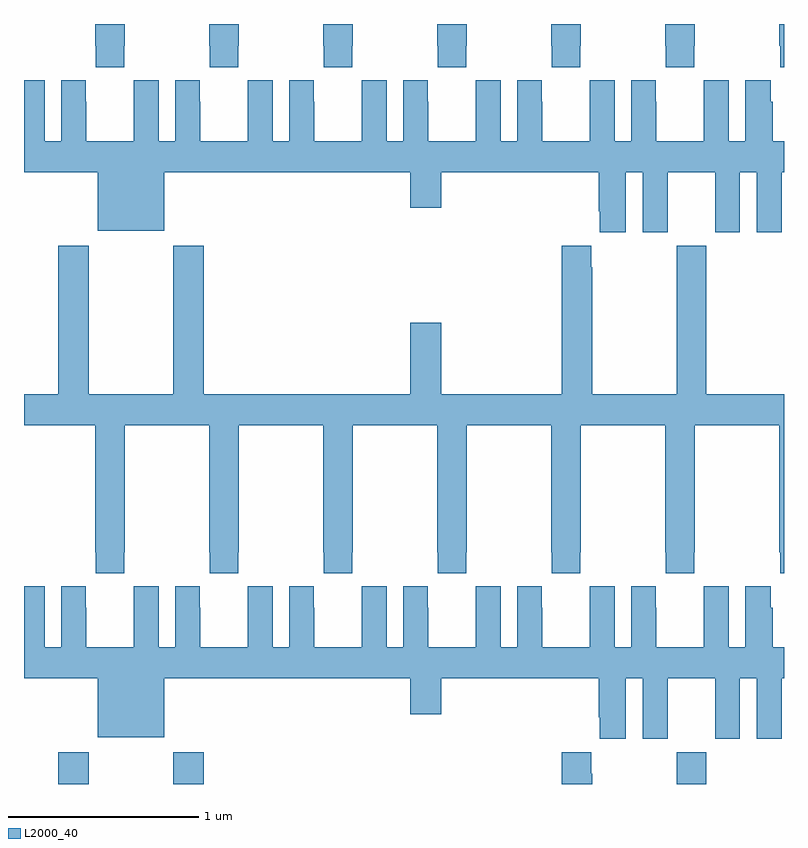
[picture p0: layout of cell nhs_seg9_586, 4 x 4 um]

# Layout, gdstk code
import gdstk
lib = gdstk.Library(unit=1e-6, precision=1e-09)
def R(c, l, rs):  # rectangles x0, y0, x1, y1
    for r in rs: c.add(gdstk.rectangle(r[:2], r[2:], *l))
def P(c, l, *ps):  # polygons
    for p in ps: c.add(gdstk.Polygon(p, *l))
L2000_40 = (2000, 40)

nhs_seg9_586 = lib.new_cell('nhs_seg9_586')
R(nhs_seg9_586, L2000_40, [(139.181,1226.5,139.341,1226.668), (139.786,1226.5,139.946,1226.668), (142.435,1226.5,142.59,1226.668)])
P(nhs_seg9_586, L2000_40, [(143,1230.5),(142.975,1230.5),(142.975,1230.385),(142.981,1230.385),(142.981,1230.273),(143,1230.273)],
  [(142.527,1230.385),(142.53,1230.385),(142.53,1230.5),(142.375,1230.5),(142.375,1230.385),(142.377,1230.385),(142.377,1230.273),(142.527,1230.273)],
  [(141.927,1230.385),(141.93,1230.385),(141.93,1230.5),(141.775,1230.5),(141.775,1230.385),(141.777,1230.385),(141.777,1230.273),(141.927,1230.273)],
  [(141.327,1230.385),(141.33,1230.385),(141.33,1230.5),(141.175,1230.5),(141.175,1230.385),(141.177,1230.385),(141.177,1230.273),(141.327,1230.273)],
  [(140.727,1230.385),(140.73,1230.385),(140.73,1230.5),(140.575,1230.5),(140.575,1230.385),(140.577,1230.385),(140.577,1230.273),(140.727,1230.273)],
  [(140.127,1230.385),(140.13,1230.385),(140.13,1230.5),(139.975,1230.5),(139.975,1230.385),(139.977,1230.385),(139.977,1230.273),(140.127,1230.273)],
  [(139.527,1230.385),(139.53,1230.385),(139.53,1230.5),(139.375,1230.5),(139.375,1230.385),(139.377,1230.385),(139.377,1230.273),(139.527,1230.273)],
  [(139.326,1230.092),(139.326,1230.205),(139.196,1230.205),(139.196,1229.884),(139.108,1229.884),(139.108,1230.205),(139,1230.205),(139,1229.72),(139.388,1229.72),(139.388,1229.411),(139.738,1229.411),(139.738,1229.72),(141.032,1229.72),(141.032,1229.532),(141.196,1229.532),(141.196,1229.72),(142.025,1229.72),(142.025,1229.515),(142.031,1229.515),(142.031,1229.403),(142.168,1229.403),(142.168,1229.72),(142.256,1229.72),(142.256,1229.403),(142.387,1229.403),(142.387,1229.72),(142.637,1229.72),(142.637,1229.403),(142.768,1229.403),(142.768,1229.72),(142.856,1229.72),(142.856,1229.403),(142.987,1229.403),(142.987,1229.72),(143,1229.72),(143,1229.884),(142.94,1229.884),(142.94,1230.092),(142.93,1230.092),(142.93,1230.205),(142.796,1230.205),(142.796,1229.884),(142.708,1229.884),(142.708,1230.205),(142.578,1230.205),(142.578,1230.092),(142.577,1230.092),(142.577,1229.884),(142.327,1229.884),(142.327,1230.092),(142.326,1230.092),(142.326,1230.205),(142.196,1230.205),(142.196,1229.884),(142.108,1229.884),(142.108,1230.205),(141.978,1230.205),(141.978,1230.092),(141.977,1230.092),(141.977,1229.884),(141.727,1229.884),(141.727,1230.092),(141.726,1230.092),(141.726,1230.205),(141.596,1230.205),(141.596,1229.884),(141.508,1229.884),(141.508,1230.205),(141.378,1230.205),(141.378,1230.092),(141.377,1230.092),(141.377,1229.884),(141.127,1229.884),(141.127,1230.092),(141.126,1230.092),(141.126,1230.205),(140.996,1230.205),(140.996,1229.884),(140.908,1229.884),(140.908,1230.205),(140.778,1230.205),(140.778,1230.092),(140.777,1230.092),(140.777,1229.884),(140.527,1229.884),(140.527,1230.092),(140.526,1230.092),(140.526,1230.205),(140.396,1230.205),(140.396,1229.884),(140.308,1229.884),(140.308,1230.205),(140.178,1230.205),(140.178,1230.092),(140.177,1230.092),(140.177,1229.884),(139.927,1229.884),(139.927,1230.092),(139.926,1230.092),(139.926,1230.205),(139.796,1230.205),(139.796,1229.884),(139.708,1229.884),(139.708,1230.205),(139.578,1230.205),(139.578,1230.092),(139.577,1230.092),(139.577,1229.884),(139.327,1229.884),(139.327,1230.092)],
  [(139.527,1227.721),(139.53,1227.721),(139.53,1228.388),(139.975,1228.388),(139.975,1227.721),(139.977,1227.721),(139.977,1227.609),(140.127,1227.609),(140.127,1227.721),(140.13,1227.721),(140.13,1228.388),(140.575,1228.388),(140.575,1227.721),(140.577,1227.721),(140.577,1227.609),(140.727,1227.609),(140.727,1227.721),(140.73,1227.721),(140.73,1228.388),(141.175,1228.388),(141.175,1227.721),(141.177,1227.721),(141.177,1227.609),(141.327,1227.609),(141.327,1227.721),(141.33,1227.721),(141.33,1228.388),(141.775,1228.388),(141.775,1227.721),(141.777,1227.721),(141.777,1227.609),(141.927,1227.609),(141.927,1227.721),(141.93,1227.721),(141.93,1228.388),(142.375,1228.388),(142.375,1227.721),(142.377,1227.721),(142.377,1227.609),(142.527,1227.609),(142.527,1227.721),(142.53,1227.721),(142.53,1228.388),(142.975,1228.388),(142.975,1227.721),(142.981,1227.721),(142.981,1227.609),(143,1227.609),(143,1228.552),(142.59,1228.552),(142.59,1229.332),(142.435,1229.332),(142.435,1228.552),(141.99,1228.552),(141.99,1229.219),(141.985,1229.219),(141.985,1229.332),(141.83,1229.332),(141.83,1228.552),(141.196,1228.552),(141.196,1228.927),(141.032,1228.927),(141.032,1228.552),(139.946,1228.552),(139.946,1229.332),(139.786,1229.332),(139.786,1228.552),(139.341,1228.552),(139.341,1229.332),(139.181,1229.332),(139.181,1228.552),(139,1228.552),(139,1228.388),(139.375,1228.388),(139.375,1227.721),(139.377,1227.721),(139.377,1227.609),(139.527,1227.609)],
  [(139.578,1227.541),(139.578,1227.428),(139.577,1227.428),(139.577,1227.22),(139.327,1227.22),(139.327,1227.428),(139.326,1227.428),(139.326,1227.541),(139.196,1227.541),(139.196,1227.22),(139.108,1227.22),(139.108,1227.541),(139,1227.541),(139,1227.056),(139.388,1227.056),(139.388,1226.747),(139.738,1226.747),(139.738,1227.056),(141.032,1227.056),(141.032,1226.868),(141.196,1226.868),(141.196,1227.056),(142.025,1227.056),(142.025,1226.851),(142.031,1226.851),(142.031,1226.739),(142.168,1226.739),(142.168,1227.056),(142.256,1227.056),(142.256,1226.739),(142.387,1226.739),(142.387,1227.056),(142.637,1227.056),(142.637,1226.739),(142.768,1226.739),(142.768,1227.056),(142.856,1227.056),(142.856,1226.739),(142.987,1226.739),(142.987,1227.056),(143,1227.056),(143,1227.22),(142.94,1227.22),(142.94,1227.428),(142.93,1227.428),(142.93,1227.541),(142.796,1227.541),(142.796,1227.22),(142.708,1227.22),(142.708,1227.541),(142.578,1227.541),(142.578,1227.428),(142.577,1227.428),(142.577,1227.22),(142.327,1227.22),(142.327,1227.428),(142.326,1227.428),(142.326,1227.541),(142.196,1227.541),(142.196,1227.22),(142.108,1227.22),(142.108,1227.541),(141.978,1227.541),(141.978,1227.428),(141.977,1227.428),(141.977,1227.22),(141.727,1227.22),(141.727,1227.428),(141.726,1227.428),(141.726,1227.541),(141.596,1227.541),(141.596,1227.22),(141.508,1227.22),(141.508,1227.541),(141.378,1227.541),(141.378,1227.428),(141.377,1227.428),(141.377,1227.22),(141.127,1227.22),(141.127,1227.428),(141.126,1227.428),(141.126,1227.541),(140.996,1227.541),(140.996,1227.22),(140.908,1227.22),(140.908,1227.541),(140.778,1227.541),(140.778,1227.428),(140.777,1227.428),(140.777,1227.22),(140.527,1227.22),(140.527,1227.428),(140.526,1227.428),(140.526,1227.541),(140.396,1227.541),(140.396,1227.22),(140.308,1227.22),(140.308,1227.541),(140.178,1227.541),(140.178,1227.428),(140.177,1227.428),(140.177,1227.22),(139.927,1227.22),(139.927,1227.428),(139.926,1227.428),(139.926,1227.541),(139.796,1227.541),(139.796,1227.22),(139.708,1227.22),(139.708,1227.541)],
  [(141.99,1226.555),(141.985,1226.555),(141.985,1226.668),(141.83,1226.668),(141.83,1226.5),(141.99,1226.5)])

lib.write_gds('nhs_seg9_586.gds')
